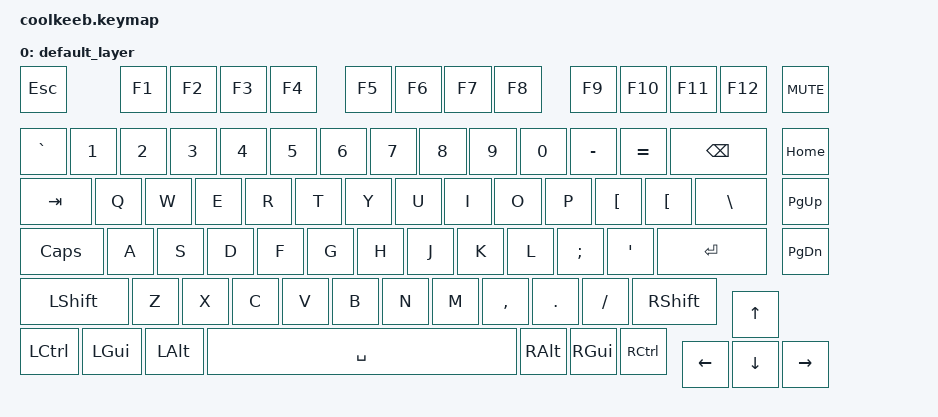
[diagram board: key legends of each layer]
// This file was generated from a template. Edit it to match your keyboard.
// See https://zmk.dev/docs/development/hardware-integration/new-shield for more instructions.

#include <behaviors.dtsi>
#include <dt-bindings/zmk/keys.h>

/ {
    // Define a default keymap here.
    // See https://zmk.dev/docs/development/hardware-integration/new-shield#default-keymap.
    keymap {
        compatible = "zmk,keymap";

        default_layer {
            bindings =<
            &kp ESC       &kp F1   &kp F2   &kp F3   &kp F4      &kp F5   &kp F6   &kp F7   &kp F8      &kp F9   &kp F10  &kp F11  &kp F12   &kp C_MUTE
            &kp GRAVE &kp N1   &kp N2   &kp N3   &kp N4   &kp N5   &kp N6   &kp N7   &kp N8   &kp N9   &kp N0   &kp MINUS &kp EQUAL  &kp BSPC  &kp HOME
            &kp TAB   &kp Q    &kp W    &kp E    &kp R    &kp T    &kp Y    &kp U    &kp I    &kp O    &kp P    &kp LBKT &kp LBKT  &kp BSLH  &kp PG_UP
            &kp CAPS   &kp A    &kp S    &kp D    &kp F    &kp G    &kp H    &kp J    &kp K    &kp L    &kp SEMI &kp SQT      &kp RET        &kp PG_DN
            &kp LSHFT   &kp Z    &kp X    &kp C    &kp V    &kp B    &kp N    &kp M    &kp COMMA &kp DOT  &kp FSLH     &kp RSHFT       &kp UP
            &kp LCTRL   &kp LGUI    &kp LALT         &kp SPACE        &kp RALT &kp RGUI &kp RCTRL                            &kp LEFT &kp DOWN &kp RIGHT
        >;
        };
    };
};
